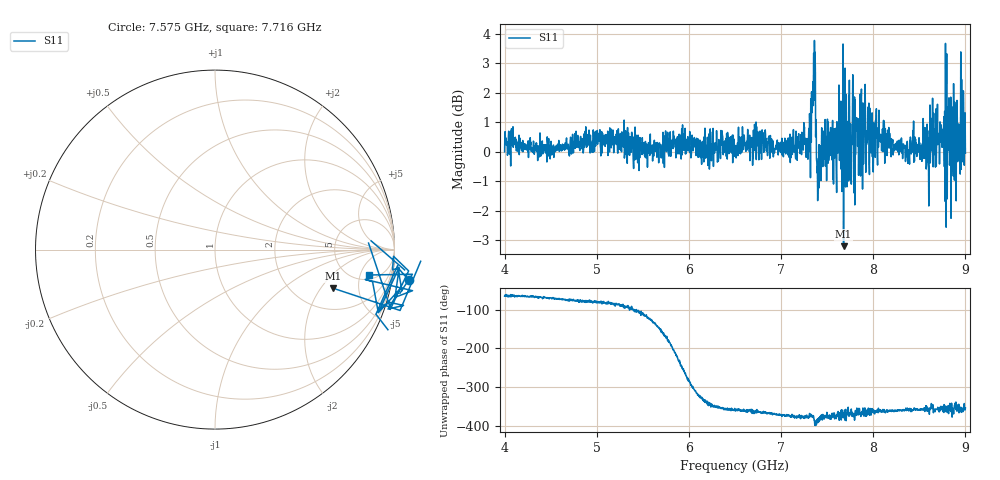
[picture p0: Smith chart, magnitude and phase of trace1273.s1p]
! Created with skrf 1.8.0 (http://scikit-rf.org).
# Hz S RI R 50.0
!freq ReS11 ImS11
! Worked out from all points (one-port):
!   1601 points, 4 GHz to 9 GHz, reference 50 ohm
!   lowest |S11| = -3.2 dB at 7.678 GHz (marker M1), VSWR 5.48, Z = 159 - j131 ohm
!   |S11| at or under -10 dB: nowhere
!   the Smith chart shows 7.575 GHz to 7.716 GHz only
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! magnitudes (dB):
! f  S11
! 4 GHz  0.0
! 4.625 GHz  0.0
! 5.25 GHz  0.1
! 5.875 GHz  0.5
! 6.5 GHz  0.2
! 6.725 GHz  0.1
! 7.125 GHz  0.3
! 7.294 GHz  0.4
! 7.347 GHz  2.4
! 7.366 GHz  2.5
! 7.409 GHz  -1.2
! 7.466 GHz  0.6
! 7.588 GHz  0.2
! 7.65 GHz  1.7
! 7.678 GHz  -3.2
! 7.741 GHz  2.4
! 7.75 GHz  0.7
! 7.928 GHz  0.2
! 7.944 GHz  0.6
! 8.134 GHz  0.2
! 8.375 GHz  -0.4
! 8.541 GHz  1.1
! 8.578 GHz  -0.5
! 8.631 GHz  0.6
! 8.719 GHz  -0.4
! 8.919 GHz  -0.1
! 8.972 GHz  0.4
! 9 GHz  -0.1
